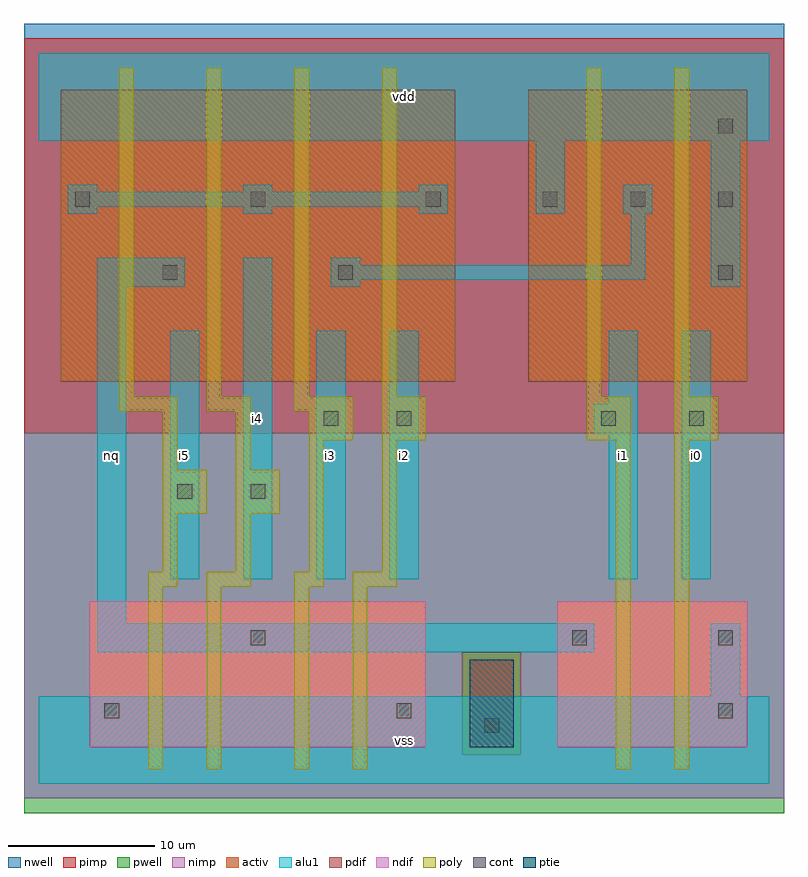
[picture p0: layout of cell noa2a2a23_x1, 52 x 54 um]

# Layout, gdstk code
import gdstk
lib = gdstk.Library(unit=1e-6, precision=1e-09)
def R(c, l, rs):  # rectangles x0, y0, x1, y1
    for r in rs: c.add(gdstk.rectangle(r[:2], r[2:], *l))
def A(c, l, x, y, w, h, nx, ny, dx, dy):  # array of equal rectangles
    R(c, l, [(x+i*dx, y+j*dy, x+i*dx+w, y+j*dy+h) for i in range(nx) for j in range(ny)])
ndif = (3, 0)
pdif = (4, 0)
ptie = (6, 0)
cont = (25, 0)
pwell = (41, 0)
nwell = (42, 0)
activ = (43, 0)
pimp = (44, 0)
nimp = (45, 0)
poly = (46, 0)
alu1 = (49, 0)

noa2a2a23_x1 = lib.new_cell('noa2a2a23_x1')
R(noa2a2a23_x1, ndif, [(3.5,2.5,26.5,12.5), (35.5,2.5,48.5,12.5)])
R(noa2a2a23_x1, pdif, [(1.5,27.5,28.5,47.5), (33.5,27.5,48.5,47.5)])
R(noa2a2a23_x1, ptie, [(29.5,2.5,32.5,8.5)])
A(noa2a2a23_x1, cont, 2.5, 39.5, 1, 1, 3, 1, 12, 0)
A(noa2a2a23_x1, cont, 34.5, 39.5, 1, 1, 3, 1, 6, 0)
R(noa2a2a23_x1, cont, [(30.5,3.5,31.5,4.5), (4.5,4.5,5.5,5.5), (24.5,4.5,25.5,5.5), (46.5,4.5,47.5,5.5), (14.5,9.5,15.5,10.5), (36.5,9.5,37.5,10.5), (46.5,9.5,47.5,10.5), (9.5,19.5,10.5,20.5), (14.5,19.5,15.5,20.5), (19.5,24.5,20.5,25.5), (24.5,24.5,25.5,25.5), (38.5,24.5,39.5,25.5), (44.5,24.5,45.5,25.5), (8.5,34.5,9.5,35.5), (20.5,34.5,21.5,35.5), (46.5,34.5,47.5,35.5), (46.5,44.5,47.5,45.5)])
R(noa2a2a23_x1, pwell, [(-1,-2,51,24)])
R(noa2a2a23_x1, nwell, [(-1,24,51,52)])
R(noa2a2a23_x1, activ, [(3.5,2.5,26.5,12.5), (29.5,2.5,32.5,8.5), (35.5,2.5,48.5,12.5), (1.5,27.5,28.5,47.5), (33.5,27.5,48.5,47.5)])
R(noa2a2a23_x1, pimp, [(29,2,33,9), (-1,24,51,51)])
R(noa2a2a23_x1, nimp, [(-1,-1,51,2), (-1,2,29,9), (33,2,51,9), (-1,9,51,24)])
A(noa2a2a23_x1, poly, 5.5, 26.5, 1, 22.5, 4, 1, 6, 0)
R(noa2a2a23_x1, poly, [(7.5,1,8.5,13.5), (11.5,1,12.5,13.5), (17.5,1,18.5,13.5), (21.5,1,22.5,13.5), (39.5,1,40.5,23.5), (43.5,1,44.5,23.5), (7.5,13.5,9.5,14.5), (11.5,13.5,14.5,14.5), (17.5,13.5,19.5,14.5), (21.5,13.5,24.5,14.5), (8.5,14.5,9.5,18.5), (13.5,14.5,14.5,18.5), (18.5,14.5,19.5,23.5), (23.5,14.5,24.5,23.5), (8.5,18.5,11.5,21.5), (13.5,18.5,16.5,21.5), (8.5,21.5,9.5,25.5), (13.5,21.5,14.5,25.5), (18.5,23.5,21.5,25.5), (23.5,23.5,26.5,26.5), (37.5,23.5,40.5,26.5), (43.5,23.5,46.5,26.5), (5.5,25.5,9.5,26.5), (11.5,25.5,14.5,26.5), (17.5,25.5,21.5,26.5), (37.5,26.5,38.5,49), (43.5,26.5,44.5,49)])
A(noa2a2a23_x1, alu1, 2, 39, 2, 0.5, 3, 2, 12, 1.5)
R(noa2a2a23_x1, alu1, [(0,0,50,6), (46,6,48,11), (4,9,38,11), (4,11,6,34), (9,14,11,31), (14,14,16,36), (19,14,21,31), (24,14,26,31), (39,14,41,24), (44,14,46,31), (38,24,41,26), (39,26,41,31), (4,34,10,36), (20,34,22,34.5), (46,34,48,44), (20,34.5,41.5,35.5), (20,35.5,22,36), (40.5,35.5,41.5,39), (34,39,36,44), (40,39,42,41), (2,39.5,28,40.5), (0,44,50,50)])
noa2a2a23_x1.add(gdstk.Label('nq', (5,22.5), layer=49, texttype=0))
noa2a2a23_x1.add(gdstk.Label('i5', (10,22.5), layer=49, texttype=0))
noa2a2a23_x1.add(gdstk.Label('i3', (20,22.5), layer=49, texttype=0))
noa2a2a23_x1.add(gdstk.Label('i4', (15,25), layer=49, texttype=0))
noa2a2a23_x1.add(gdstk.Label('vss', (25,3), layer=49, texttype=0))
noa2a2a23_x1.add(gdstk.Label('i2', (25,22.5), layer=49, texttype=0))
noa2a2a23_x1.add(gdstk.Label('vdd', (25,47), layer=49, texttype=0))
noa2a2a23_x1.add(gdstk.Label('i1', (40,22.5), layer=49, texttype=0))
noa2a2a23_x1.add(gdstk.Label('i0', (45,22.5), layer=49, texttype=0))

lib.write_gds('noa2a2a23_x1.gds')
